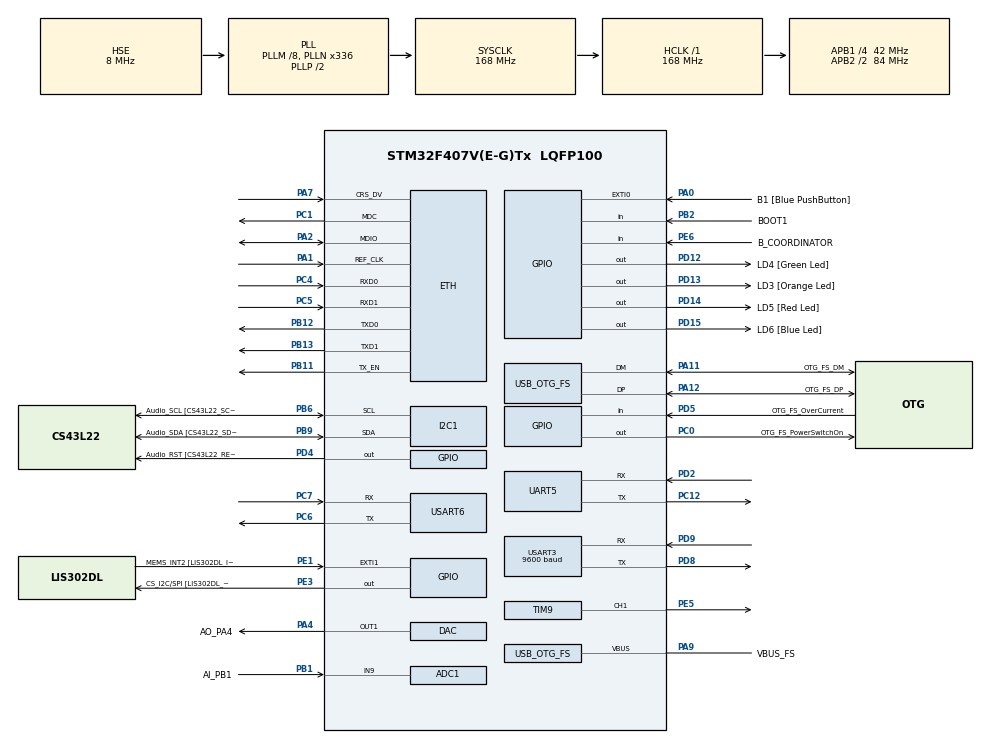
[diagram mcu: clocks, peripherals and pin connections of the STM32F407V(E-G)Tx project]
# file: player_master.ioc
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ADC1.Channel-0\#ChannelRegularConversion=ADC_CHANNEL_9
ADC1.NbrOfConversionFlag=1
ADC1.Rank-0\#ChannelRegularConversion=1
ADC1.SamplingTime-0\#ChannelRegularConversion=ADC_SAMPLETIME_3CYCLES
ADC1.master=1
ETH.MACAddr=00\:80\:E1\:00\:00\:FF
ETH.MediaInterface=ETH_MEDIA_INTERFACE_RMII
ETH.PhyAddress=0
LWIP.GATEWAY_ADDRESS=192.168.001.254
LWIP.IP_ADDRESS=192.168.001.250
LWIP.LWIP_DHCP=0
LWIP.LWIP_HTTPD=1
LWIP.LWIP_HTTPD_CUSTOM_FILES=1
LWIP.LWIP_HTTPD_DYNAMIC_HEADERS=1
LWIP.LWIP_HTTPD_SUPPORT_POST=1
LWIP.NETMASK_ADDRESS=255.255.255.000
LWIP.Version=v2.0.3_Cube
Mcu.Family=STM32F4
Mcu.Name=STM32F407V(E-G)Tx
Mcu.Package=LQFP100
NVIC.OTG_FS_IRQn=true\:0\:0\:false\:false\:true\:true\:true
NVIC.PriorityGroup=NVIC_PRIORITYGROUP_0
NVIC.TIM2_IRQn=true\:0\:0\:false\:false\:true\:true\:true
NVIC.UART5_IRQn=true\:0\:0\:false\:false\:true\:true\:true
NVIC.USART3_IRQn=true\:0\:0\:false\:false\:true\:true\:true
NVIC.USART6_IRQn=true\:0\:0\:false\:false\:true\:true\:true
PA0-WKUP.GPIO_Label=B1 [Blue PushButton]
PA0-WKUP.GPIO_ModeDefaultEXTI=GPIO_MODE_EVT_RISING
PA0-WKUP.GPIO_PuPd=GPIO_NOPULL
PA0-WKUP.Signal=GPXTI0
PA1.Mode=RMII
PA1.Signal=ETH_REF_CLK
PA10.GPIO_Label=OTG_FS_ID
PA10.GPIO_Mode=GPIO_MODE_AF_PP
PA10.GPIO_PuPd=GPIO_NOPULL
PA10.GPIO_Speed=GPIO_SPEED_FREQ_LOW
PA10.Signal=USB_OTG_FS_ID
PA11.GPIO_Label=OTG_FS_DM
PA11.GPIO_Mode=GPIO_MODE_AF_PP
PA11.GPIO_PuPd=GPIO_NOPULL
PA11.GPIO_Speed=GPIO_SPEED_FREQ_LOW
PA11.Mode=Host_Only
PA11.Signal=USB_OTG_FS_DM
PA12.GPIO_Label=OTG_FS_DP
PA12.GPIO_Mode=GPIO_MODE_AF_PP
PA12.GPIO_PuPd=GPIO_NOPULL
PA12.GPIO_Speed=GPIO_SPEED_FREQ_LOW
PA12.Mode=Host_Only
PA12.Signal=USB_OTG_FS_DP
PA13.GPIO_Label=SWDIO
PA13.Mode=Serial_Wire
PA13.Signal=SYS_JTMS-SWDIO
PA14.GPIO_Label=SWCLK
PA14.Mode=Serial_Wire
PA14.Signal=SYS_JTCK-SWCLK
PA2.Mode=RMII
PA2.Signal=ETH_MDIO
PA4.GPIO_Label=AO_PA4
PA4.Signal=COMP_DAC1_group
PA5.GPIO_Label=SPI1_SCK [LIS302DL_SCL/SPC]
PA5.GPIO_Mode=GPIO_MODE_AF_PP
PA5.GPIO_PuPd=GPIO_NOPULL
PA5.GPIO_Speed=GPIO_SPEED_FREQ_LOW
PA5.Signal=SPI1_SCK
PA6.GPIO_Label=SPI1_MISO [LIS302DL_SDO]
PA6.GPIO_Mode=GPIO_MODE_AF_PP
PA6.GPIO_PuPd=GPIO_NOPULL
PA6.GPIO_Speed=GPIO_SPEED_FREQ_LOW
PA6.Signal=SPI1_MISO
PA7.Mode=RMII
PA7.Signal=ETH_CRS_DV
PA9.GPIO_Label=VBUS_FS
PA9.GPIO_Mode=GPIO_MODE_INPUT
PA9.GPIO_PuPd=GPIO_NOPULL
PA9.Mode=Activate_VBUS
PA9.Signal=USB_OTG_FS_VBUS
PB1.GPIO_Label=AI_PB1
PB1.Signal=ADCx_IN9
PB10.GPIO_Label=CLK_IN [MP45DT02_CLK]
PB10.GPIO_Mode=GPIO_MODE_AF_PP
PB10.GPIO_PuPd=GPIO_NOPULL
PB10.GPIO_Speed=GPIO_SPEED_FREQ_LOW
PB10.Signal=I2S2_CK
PB11.Mode=RMII
PB11.Signal=ETH_TX_EN
PB12.Mode=RMII
PB12.Signal=ETH_TXD0
PB13.Mode=RMII
PB13.Signal=ETH_TXD1
PB2.GPIO_Label=BOOT1
PB2.GPIO_Mode=GPIO_MODE_INPUT
PB2.GPIO_PuPd=GPIO_NOPULL
PB2.Signal=GPIO_Input
PB3.GPIO_Label=SWO
PB3.Signal=SYS_JTDO-SWO
PB6.GPIO_Label=Audio_SCL [CS43L22_SCL]
PB6.GPIO_Mode=GPIO_MODE_AF_OD
PB6.GPIO_PuPd=GPIO_NOPULL
PB6.GPIO_Speed=GPIO_SPEED_FREQ_LOW
PB6.Mode=I2C
PB6.Signal=I2C1_SCL
PB9.GPIO_Label=Audio_SDA [CS43L22_SDA]
PB9.GPIO_Mode=GPIO_MODE_AF_OD
PB9.GPIO_PuPd=GPIO_NOPULL
PB9.GPIO_Speed=GPIO_SPEED_FREQ_LOW
PB9.Mode=I2C
PB9.Signal=I2C1_SDA
PC0.GPIO_Label=OTG_FS_PowerSwitchOn
PC0.GPIO_PuPd=GPIO_NOPULL
PC0.GPIO_Speed=GPIO_SPEED_FREQ_LOW
PC0.PinState=GPIO_PIN_SET
PC0.Signal=GPIO_Output
PC1.Mode=RMII
PC1.Signal=ETH_MDC
PC10.GPIO_Label=I2S3_SCK [CS43L22_SCLK]
PC10.GPIO_Mode=GPIO_MODE_AF_PP
PC10.GPIO_PuPd=GPIO_NOPULL
PC10.GPIO_Speed=GPIO_SPEED_FREQ_LOW
PC10.Signal=I2S3_CK
PC12.Mode=Asynchronous
PC12.Signal=UART5_TX
PC14-OSC32_IN.GPIO_Label=PC14-OSC32_IN
PC14-OSC32_IN.Mode=LSE-External-Oscillator
PC14-OSC32_IN.Signal=RCC_OSC32_IN
PC15-OSC32_OUT.GPIO_Label=PC15-OSC32_OUT
PC15-OSC32_OUT.Mode=LSE-External-Oscillator
PC15-OSC32_OUT.Signal=RCC_OSC32_OUT
PC3.GPIO_Label=PDM_OUT [MP45DT02_DOUT]
PC3.GPIO_Mode=GPIO_MODE_AF_PP
PC3.GPIO_PuPd=GPIO_NOPULL
PC3.GPIO_Speed=GPIO_SPEED_FREQ_LOW
PC3.Signal=I2S2_SD
PC4.Mode=RMII
PC4.Signal=ETH_RXD0
PC5.Mode=RMII
PC5.Signal=ETH_RXD1
PC6.Mode=Asynchronous
PC6.Signal=USART6_TX
PC7.Mode=Asynchronous
PC7.Signal=USART6_RX
PD12.GPIO_Label=LD4 [Green Led]
PD12.GPIO_PuPd=GPIO_NOPULL
PD12.GPIO_Speed=GPIO_SPEED_FREQ_LOW
PD12.Signal=GPIO_Output
PD13.GPIO_Label=LD3 [Orange Led]
PD13.GPIO_PuPd=GPIO_NOPULL
PD13.GPIO_Speed=GPIO_SPEED_FREQ_LOW
PD13.Signal=GPIO_Output
PD14.GPIO_Label=LD5 [Red Led]
PD14.GPIO_PuPd=GPIO_NOPULL
PD14.GPIO_Speed=GPIO_SPEED_FREQ_LOW
PD14.Signal=GPIO_Output
PD15.GPIO_Label=LD6 [Blue Led]
PD15.GPIO_PuPd=GPIO_NOPULL
PD15.GPIO_Speed=GPIO_SPEED_FREQ_LOW
PD15.Signal=GPIO_Output
PD2.Mode=Asynchronous
PD2.Signal=UART5_RX
PD4.GPIO_Label=Audio_RST [CS43L22_RESET]
PD4.GPIO_PuPd=GPIO_NOPULL
PD4.GPIO_Speed=GPIO_SPEED_FREQ_LOW
PD4.Signal=GPIO_Output
PD5.GPIO_Label=OTG_FS_OverCurrent
PD5.GPIO_Mode=GPIO_MODE_INPUT
PD5.GPIO_PuPd=GPIO_NOPULL
PD5.Signal=GPIO_Input
PD8.Mode=Asynchronous
PD8.Signal=USART3_TX
PD9.Mode=Asynchronous
PD9.Signal=USART3_RX
PE1.GPIO_Label=MEMS_INT2 [LIS302DL_INT2]
PE1.GPIO_ModeDefaultEXTI=GPIO_MODE_EVT_RISING
PE1.GPIO_PuPd=GPIO_NOPULL
PE1.Signal=GPXTI1
PE3.GPIO_Label=CS_I2C/SPI [LIS302DL_CS_I2C/SPI]
PE3.GPIO_PuPd=GPIO_NOPULL
PE3.GPIO_Speed=GPIO_SPEED_FREQ_LOW
PE3.Signal=GPIO_Output
PE5.Signal=S_TIM9_CH1
PE6.GPIO_Label=B_COORDINATOR
PE6.Signal=GPIO_Input
PH0-OSC_IN.GPIO_Label=PH0-OSC_IN
PH0-OSC_IN.Mode=HSE-External-Oscillator
PH0-OSC_IN.Signal=RCC_OSC_IN
PH1-OSC_OUT.GPIO_Label=PH1-OSC_OUT
PH1-OSC_OUT.Mode=HSE-External-Oscillator
PH1-OSC_OUT.Signal=RCC_OSC_OUT
ProjectManager.HeapSize=0x200
ProjectManager.StackSize=0x400
ProjectManager.TargetToolchain=TrueSTUDIO
RCC.48MHZClocksFreq_Value=48000000
RCC.AHBFreq_Value=168000000
RCC.APB1CLKDivider=RCC_HCLK_DIV4
RCC.APB1Freq_Value=42000000
RCC.APB1TimFreq_Value=84000000
RCC.APB2CLKDivider=RCC_HCLK_DIV2
RCC.APB2Freq_Value=84000000
RCC.APB2TimFreq_Value=168000000
RCC.CortexFreq_Value=168000000
RCC.HCLKFreq_Value=168000000
RCC.HSE_VALUE=8000000
RCC.HSI_VALUE=16000000
RCC.PLLM=8
RCC.PLLN=336
RCC.PLLQ=7
RCC.SYSCLKFreq_VALUE=168000000
RCC.SYSCLKSource=RCC_SYSCLKSOURCE_PLLCLK
RCC.VCOOutputFreq_Value=336000000
SH.ADCx_IN9.0=ADC1_IN9,IN9
SH.COMP_DAC1_group.0=DAC_OUT1,DAC_OUT1
SH.S_TIM9_CH1.0=TIM9_CH1,PWM Generation1 CH1
TIM2.Period=4999
TIM2.Prescaler=8399
TIM9.Channel-PWM\ Generation1\ CH1=TIM_CHANNEL_1
TIM9.Period=2150
TIM9.Prescaler=1679
TIM9.Pulse-PWM\ Generation1\ CH1=150
UART5.VirtualMode=Asynchronous
USART3.BaudRate=9600
USART3.VirtualMode=VM_ASYNC
USART6.VirtualMode=VM_ASYNC
USB_HOST.BSP.number=1
USB_HOST.USBH_HandleTypeDef-CDC_FS=hUsbHostFS
USB_HOST.VirtualModeFS=Cdc
USB_HOST0.BSP.STBoard=false
USB_HOST0.BSP.api=Unknown
USB_HOST0.BSP.i2caddr=0
USB_HOST0.BSP.i2creg=0
USB_HOST0.BSP.instance=PC0
USB_HOST0.BSP.ip=GPIO
USB_HOST0.BSP.mode=Output
USB_HOST0.BSP.name=Drive_VBUS_FS
USB_HOST0.BSP.solution=PC0
USB_OTG_FS.VirtualMode=Host_Only
USB_OTG_FS.phy_itface=HCD_PHY_EMBEDDED
VP_LWIP_VS_Enabled.Mode=Enabled
VP_RNG_VS_RNG.Mode=RNG_Activate
VP_TIM2_VS_ClockSourceINT.Mode=Internal
VP_TIM9_VS_ClockSourceINT.Mode=Internal
VP_USB_HOST_VS_USB_HOST_CDC_FS.Mode=CDC_FS
board=STM32F407G-DISC1

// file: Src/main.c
/* USER CODE BEGIN Header */
/**
  ******************************************************************************
  * @file           : main.c
  * @brief          : Main program body
  ******************************************************************************
  * @attention
  *
  * <h2><center>&copy; Copyright (c) 2019 STMicroelectronics.
  * All rights reserved.</center></h2>
  *
  * This software component is licensed by ST under Ultimate Liberty license
  * SLA0044, the "License"; You may not use this file except in compliance with
  * the License. You may obtain a copy of the License at:
  *                             www.st.com/SLA0044
  *
  ******************************************************************************
  */
/* USER CODE END Header */

#include "main.h"
#include "lwip.h"
#include "usb_host.h"

/* USER CODE BEGIN Includes */
#include <stdio.h>
#include <string.h>
#include "httpd.h"

#include <bum_player.h>
#include <bum_referee.h>

/* USER CODE END Includes */

/* USER CODE BEGIN PD */

#define PLAYER_NAME "Bob"

/* USER CODE END PD */

ADC_HandleTypeDef hadc1;

DAC_HandleTypeDef hdac;

I2C_HandleTypeDef hi2c1;

RNG_HandleTypeDef hrng;

TIM_HandleTypeDef htim2;
TIM_HandleTypeDef htim9;

UART_HandleTypeDef huart5;
UART_HandleTypeDef huart3;
UART_HandleTypeDef huart6;

/* USER CODE BEGIN PV */

event e;

#define TIM2_MS      10
#define BUMPER_DT_MS 100

/* USER CODE END PV */

void SystemClock_Config(void);
static void MX_GPIO_Init(void);
static void MX_I2C1_Init(void);
static void MX_TIM2_Init(void);
static void MX_USART6_UART_Init(void);
static void MX_ADC1_Init(void);
static void MX_DAC_Init(void);
static void MX_TIM9_Init(void);
static void MX_RNG_Init(void);
static void MX_UART5_Init(void);
static void MX_USART3_UART_Init(void);
void MX_USB_HOST_Process(void);

/* USER CODE BEGIN 0 */

uint8_t recv3_car = 0;
uint8_t recv6_car = 0;

char print_flag = 0;
extern int8_t acceleration_x;
int8_t acceleration_x = 0;
extern int8_t acceleration_y;
int8_t acceleration_y = 0;
char received_cars[2];
char buffer[100];

void HAL_UART_RxCpltCallback(UART_HandleTypeDef *huart)
{
  if ( huart->Instance == USART6 )
  {
	  switch ( recv6_car )
	  {
		case 'q' :
			__HAL_TIM_SET_AUTORELOAD( &htim2, 499 );
		  break;

		case 's' :
			__HAL_TIM_SET_AUTORELOAD( &htim2, 4999 );
		  break;

		default:
			break;
	  }

	  // Restart counter
	  __HAL_TIM_SET_COUNTER( &htim2, 0 );

	  // Restart receiving data on USART6
	  HAL_UART_Receive_IT( &huart6, &recv6_car, 1 );
  }
#if 0
  else if ( huart->Instance == USART3 )
  {
    bum_notify_recv( recv3_car );

    HAL_UART_Receive_IT( &huart3, &recv3_car, 1 );
  }
#endif
  if(huart->Instance == UART5){
  print_flag = 1;

    //on vérifie qu'on a bien reçu des message avec une  qui clignote
  	if(HAL_UART_Receive_IT( &huart5, &received_cars, 2 ) == HAL_OK){
  		HAL_GPIO_TogglePin( GPIOD, LD4_Pin);
  	}

  	//on relance l'écoute de l'UART
  	HAL_UART_Receive_IT( &huart5, &buffer, 1 );
  }

}

int _write(int file, char *ptr, int len)
{
  HAL_UART_Transmit( &huart6, ( uint8_t * )ptr, len, 1000 );
  return len;
}

void pwm_angle_to_registers( int angle )
{
  if ( angle < -90 ) angle = -90;
  else if ( angle > 90 ) angle = 90;

  // 100 counts / ms
  // -90 --> 0.75 ms
  //  90 --> 2.25 ms
  // 100 * (0.75 + 1,5/180 * (angle + 90))

  int pulse =  75 + ( 150 * ( angle + 90 ) ) / 180;
  int period = pulse + 2000;

  // Besoin de stopper le timer ? De reset ? d'attendre la fin d'un cycle ?
  // Non : shadow registers
  __HAL_TIM_SET_AUTORELOAD( &htim9, (period-1) );
  __HAL_TIM_SET_COMPARE( &htim9, TIM_CHANNEL_1, (pulse-1) );
}

void bumper_signal_error( int x )
{
	HAL_GPIO_WritePin( LD3_GPIO_Port, LD5_Pin, 1 ); // RED

	char buff[ 20 ];
	sprintf( buff, "ERROR %d<br/>", x );

	bum_log( buff );
}

void bumper_signal_debug( int x )
{
	HAL_GPIO_TogglePin( LD6_GPIO_Port, LD6_Pin ); // BLUE
}

// **********************************************************************************************
// **********************************************************************************************
// **********************************************************************************************
// **********************************************************************************************
// ----------------------------------------------------------------------------------------------
// PLAYER
BumperProtocolPlayer bum_player;

#define JSON_ORDERS_SIZE 500
char json_orders[ JSON_ORDERS_SIZE + 1 ];

int bumper_game_step( uint8_t step, uint8_t param )
{
	int len = strlen( json_orders );
	if ( len > JSON_ORDERS_SIZE - 50 ) return 0;

	char msg[ 40 ];
	msg[ 0 ] = 0;
	switch ( step )
	{
	case BUM_STEP_REGISTERED:
		switch ( param )
		{
		case 0: // internal error
			strcpy( msg, "Internal Error" ); break;
		case 1: // OK
			strcpy( msg, "OK registered as " ); strcat( msg, bum_player.name ); break;
		case 2: // OK but already registered
			strcpy( msg, "OK already as " ); strcat( msg, bum_player.name ); break;
		case 3: // NO, too many players
			strcpy( msg, "Too many players" ); break;
		case 4: // NO, game already started
			strcpy( msg, "Too late" ); break;
		default:
			strcpy( msg, "param ???" ); break;
		}
        break;

	case BUM_STEP_START:
		strcpy( msg, "Playing as " ); strcat( msg, bum_player.name ); break;
		break;

	case BUM_STEP_RESULT:
		break;

	case BUM_STEP_END:
		sprintf( msg, "Game Over" ); break;

	default:
		strcpy( msg, "step ???" ); break;
	}

	if ( msg[ 0 ] )
	{
		sprintf( json_orders + len, "{\"display\":[{\"id\":\"step\",\"x\":200,\"y\":-5,\"content\":\"%s\"}]},", msg );
	}

	return 1;
}

int bumper_game_new_player( uint8_t id, const char *name, uint32_t color )
{
	int len = strlen( json_orders );
	if ( len > JSON_ORDERS_SIZE - 50 ) return 0;
	sprintf( json_orders + len, "{\"new_player\":[{\"i\":%d,\"name\":\"%s\",\"color\": \"#%06X\"}]},", ( unsigned int )id, name, ( unsigned int )color );
	return 1;
}

int bumper_game_player_move( uint8_t id, uint16_t x, uint16_t y, uint16_t s )
{
	int len = strlen( json_orders );
	if ( len > JSON_ORDERS_SIZE - 50 ) return 0;
	sprintf( json_orders + len, "{\"move\":[{\"i\":%d,\"x\":%d,\"y\":%d,\"a\":%d,\"s\":%d}]},", ( unsigned int )id, ( unsigned int )x, ( unsigned int )y, 0, ( unsigned int )s );
	return 1;
}

int bumper_game_print( const char *msg )
{
	int len = strlen( json_orders );
	if ( len > JSON_ORDERS_SIZE - 50 ) return 0;
	sprintf( json_orders + len, "{\"display\":[{\"id\":\"score\",\"x\":10,\"y\":-5,\"content\":\"%s\"}]},", msg );
	return 1;
}

void bumper_init_player()
{
  bum_player.game_step = bumper_game_step;
  bum_player.game_new_player = bumper_game_new_player;
  bum_player.game_player_move = bumper_game_player_move;
  bum_player.game_print = bumper_game_print;

  bum_player.error = bumper_signal_error;
  bum_player.debug = bumper_signal_debug;

  bum_init_player( &bum_player );
}

// ----------------------------------------------------------------------------------------------
// REFEREE
BumperProtocolReferee bum_referee;

uint8_t user_button_pushed = 0;

#if 1
int bumper_game_register( uint8_t id, const char *name )
{
	return 1;
}

int bumper_game_acceleration( uint8_t id, int8_t ax, int8_t ay, int8_t az )
{
	return 1;
}

int bumper_game_over()
{
	user_button_pushed = 0;
	return 1;
}
#endif

int bumper_utility_random( uint32_t *value, uint32_t max )
{
  if ( HAL_RNG_GenerateRandomNumber( &hrng, value ) != HAL_OK ) return 0;

#if 0
  uint32_t zones = 0xFFFFFFFF / max;
  *value /= zones;
#else
  *value %= max;
#endif

  return 1;
}

void bumper_init_referee()
{
#if 1
  bum_referee.game_register = bumper_game_register;
  bum_referee.game_acceleration = bumper_game_acceleration;
  bum_referee.game_over = bumper_game_over;

  bum_referee.utility_random = bumper_utility_random;
#endif
  bum_referee.error = bumper_signal_error;
  bum_referee.debug = 0;

  bum_init_referee( &bum_referee );
}

// **********************************************************************************************
// **********************************************************************************************
// **********************************************************************************************
// **********************************************************************************************

int check_board_id()
{
	  uint32_t UID[ 3 ];
	  UID[0] = HAL_GetUIDw0();
	  UID[1] = HAL_GetUIDw1();
	  UID[2] = HAL_GetUIDw2();

	  uint32_t UID_COORDINATOR[ 3 ];
	  UID_COORDINATOR[0] = 0x002d0025;
	  UID_COORDINATOR[1] = 0x3137470f;
	  UID_COORDINATOR[2] = 0x30373234;

	  uint32_t UID_PLAYER_1[ 3 ];
	  UID_PLAYER_1[0] = 0x470058;
	  UID_PLAYER_1[1] = 0x58485018;
	  UID_PLAYER_1[2] = 0x20383852;

	  if ( ( UID[0] == UID_COORDINATOR[0] ) && ( UID[1] == UID_COORDINATOR[1] ) && ( UID[2] == UID_COORDINATOR[2] ) ) return 0;

	  if ( ( UID[0] == UID_PLAYER_1[0] ) && ( UID[1] == UID_PLAYER_1[1] ) && ( UID[2] == UID_PLAYER_1[2] ) ) return 1;

	  return 2;
}

WebInterface wi;

char buffer[100];

/* USER CODE END 0 */

int main(void)
{

  /* MCU Configuration--------------------------------------------------------*/

  /* Reset of all peripherals, Initializes the Flash interface and the Systick. */
  HAL_Init();

  /* Configure the system clock */
  SystemClock_Config();

  /* USER CODE BEGIN SysInit */

  // UART3 : XBee
  // UART5 : MEMS board
  // UART6 : debug / 232

  /* USER CODE END SysInit */

  /* Initialize all configured peripherals */
  MX_GPIO_Init();
  MX_I2C1_Init();
  MX_TIM2_Init();
  MX_USB_HOST_Init();
  MX_USART6_UART_Init();
  MX_ADC1_Init();
  MX_DAC_Init();
  MX_TIM9_Init();
  MX_RNG_Init();
  MX_UART5_Init();
  MX_USART3_UART_Init();
  MX_LWIP_Init();
  /* USER CODE BEGIN 2 */
  HAL_UART_Receive_IT( &huart5, &buffer, 1 );

  //si on a reçu une accélération
  if(print_flag == 1){
	print_flag = 0;

	if(received_cars[0] == "X"){
		acceleration_x = (int8_t)received_cars[1];
	}
	if(received_cars[0] == "Y"){
		acceleration_y = (int8_t)received_cars[1];
	}
  }

HAL_GPIO_TogglePin( GPIOD, LD6_Pin);

  uint8_t ip_address = 250;
  int board_id = check_board_id();
  int referee = 0;

  switch ( board_id )
  {
    case 0: // Referee
    	referee = 1;
    	ip_address = 250;
    	break;
    case 1: // Player de test
    	ip_address = 251;
    	strcpy( bum_player.name, "Axel" );
    	break;
    case 2: // Player
    	ip_address = 252;
    	strcpy( bum_player.name, PLAYER_NAME );
    	break;
  }

  ip_address = 1;

  web_interface_init( &wi );

  MX_LWIP_Init_( ip_address );

  HAL_TIM_Base_Start_IT( &htim2 );

  event_init( &e );

  HAL_UART_Receive_IT( &huart6, &recv6_car, 1 );

  //HAL_UART_Receive_IT( &huart3, &recv3_car, 1 );

  /* USER CODE END 2 */

  /* Infinite loop */
  /* USER CODE BEGIN WHILE */

  HAL_DAC_Start(&hdac, DAC_CHANNEL_1);

  // Start AD conversion
  HAL_ADC_Start( &hadc1 );

  // Start timer 9
  HAL_TIM_Base_Start( &htim9 );
  // Start PWM on channel 1, timer 9
  HAL_TIM_PWM_Start( &htim9, TIM_CHANNEL_1 );

#if 0
  uint32_t v = 0;
  int dir = 1;
  int angle = -90;
#endif

  httpd_init();

  if ( referee )
  {
    bumper_init_referee();
  }
  else
  {
	bumper_init_player();
  }

  strcpy( json_orders, "{\"L\":[" );

  //v = xbee_configure_API1();

  while (1)
  {
    /* USER CODE END WHILE */
    MX_USB_HOST_Process();

    if(print_flag == 1){
  	print_flag = 0;

    }

    /* USER CODE BEGIN 3 */

    // Make ETH work
    MX_LWIP_Process();

    // LD3 (orange), LD4 (green), LD5 (red) and LD6 (blue)

#if 0
    // Wait for end of conversion
    if ( HAL_ADC_PollForConversion( &hadc1, 1000 ) == HAL_OK )
    {
      // Get value from 0 to 0xFFF
	  v = HAL_ADC_GetValue( &hadc1 );

	  // Output half of the input voltage on DAC channel 1
	  HAL_DAC_SetValue(&hdac, DAC_CHANNEL_1, DAC_ALIGN_12B_R, v / 2 );

	  // Convert to mV
	  v *= 3300;
	  v /= 0xFFF;

	  // Restart AD conversion for next time
	  HAL_ADC_Start( &hadc1 );
    }
#endif

#if 0
    if ( ( B1_GPIO_Port->IDR & B1_Pin ) == 1 )
    {
      if ( !pushed )
      {
   	    if ( coordinator )
  	      xbee_api_send( ( uint8_t * )"ACOORD", 6 );
   	    else
   	      xbee_api_send( ( uint8_t * )"ABASE", 5 );
      }

      pushed = 1;
    }
    else
   	{ pushed = 0; }
#endif

    if ( referee )
    {
      bum_process_referee();
    }
    else
    {
      bum_process_player();

  	  // Execute buttons pushed in web interface
		if ( event_check( &wi.evt ) )
		{
			if ( wi.button_register_player )
			{
				wi.button_register_player = 0;
				bum_game_register( bum_player.name );
			}

			if ( wi.button_acc )
			{
				wi.button_acc = 0;
				bum_game_acceleration( wi.acc_x, wi.acc_y, 0 );
			}
		}

    }

    if ( referee )
    {
  	  if ( !user_button_pushed && ( ( B1_GPIO_Port->IDR & B1_Pin ) == 1 ) )
  	  {
  		user_button_pushed = 1;

  		// Start game
  		bum_referee_start_game();
  	  }
    }

    if ( event_check( &e ) ) // If the event has been triggered
    {
		bum_process( TIM2_MS );

		static int N_BUMPER_DT_MS = 0;
		N_BUMPER_DT_MS += TIM2_MS;
        if ( N_BUMPER_DT_MS >= BUMPER_DT_MS )
        {
          N_BUMPER_DT_MS = 0;

		  if ( referee )
		  {
			bum_referee_calculate( BUMPER_DT_MS );

			if ( bum_referee_get_n_players() )
			{
				HAL_GPIO_WritePin( LD3_GPIO_Port, LD6_Pin, GPIO_PIN_SET ); // BLUE
			}
			else
			{
				HAL_GPIO_WritePin( LD3_GPIO_Port, LD6_Pin, GPIO_PIN_RESET ); // BLUE
			}
		  }

		  // We remove this line because it is blocking
		  // printf( "%u mV\r\n", ( unsigned int )v );

#if 0
		  // Move the motor
		  angle += 10 * dir;
		  if ( angle > 90 ) dir = -1;
		  if ( angle < -90 ) dir = 1;

		  pwm_angle_to_registers( angle );
#endif
        }

	  static int N500 = 0;
	  N500 += TIM2_MS;
	  if ( N500 >= 500 )
	  {
		N500 = 0;
		HAL_GPIO_TogglePin( LD3_GPIO_Port, LD3_Pin ); // ORANGE
	  }

    }
  }
  /* USER CODE END 3 */
}

void SystemClock_Config(void)
{
  RCC_OscInitTypeDef RCC_OscInitStruct = {0};
  RCC_ClkInitTypeDef RCC_ClkInitStruct = {0};

  /** Configure the main internal regulator output voltage
  */
  __HAL_RCC_PWR_CLK_ENABLE();
  __HAL_PWR_VOLTAGESCALING_CONFIG(PWR_REGULATOR_VOLTAGE_SCALE1);
  /** Initializes the CPU, AHB and APB busses clocks
  */
  RCC_OscInitStruct.OscillatorType = RCC_OSCILLATORTYPE_HSE;
  RCC_OscInitStruct.HSEState = RCC_HSE_ON;
  RCC_OscInitStruct.PLL.PLLState = RCC_PLL_ON;
  RCC_OscInitStruct.PLL.PLLSource = RCC_PLLSOURCE_HSE;
  RCC_OscInitStruct.PLL.PLLM = 8;
  RCC_OscInitStruct.PLL.PLLN = 336;
  RCC_OscInitStruct.PLL.PLLP = RCC_PLLP_DIV2;
  RCC_OscInitStruct.PLL.PLLQ = 7;
  if (HAL_RCC_OscConfig(&RCC_OscInitStruct) != HAL_OK)
  {
    Error_Handler();
  }
  /** Initializes the CPU, AHB and APB busses clocks
  */
  RCC_ClkInitStruct.ClockType = RCC_CLOCKTYPE_HCLK|RCC_CLOCKTYPE_SYSCLK
                              |RCC_CLOCKTYPE_PCLK1|RCC_CLOCKTYPE_PCLK2;
  RCC_ClkInitStruct.SYSCLKSource = RCC_SYSCLKSOURCE_PLLCLK;
  RCC_ClkInitStruct.AHBCLKDivider = RCC_SYSCLK_DIV1;
  RCC_ClkInitStruct.APB1CLKDivider = RCC_HCLK_DIV4;
  RCC_ClkInitStruct.APB2CLKDivider = RCC_HCLK_DIV2;

  if (HAL_RCC_ClockConfig(&RCC_ClkInitStruct, FLASH_LATENCY_5) != HAL_OK)
  {
    Error_Handler();
  }
}

static void MX_ADC1_Init(void)
{

  ADC_ChannelConfTypeDef sConfig = {0};

  /** Configure the global features of the ADC (Clock, Resolution, Data Alignment and number of conversion)
  */
  hadc1.Instance = ADC1;
  hadc1.Init.ClockPrescaler = ADC_CLOCK_SYNC_PCLK_DIV4;
  hadc1.Init.Resolution = ADC_RESOLUTION_12B;
  hadc1.Init.ScanConvMode = DISABLE;
  hadc1.Init.ContinuousConvMode = DISABLE;
  hadc1.Init.DiscontinuousConvMode = DISABLE;
  hadc1.Init.ExternalTrigConvEdge = ADC_EXTERNALTRIGCONVEDGE_NONE;
  hadc1.Init.ExternalTrigConv = ADC_SOFTWARE_START;
  hadc1.Init.DataAlign = ADC_DATAALIGN_RIGHT;
  hadc1.Init.NbrOfConversion = 1;
  hadc1.Init.DMAContinuousRequests = DISABLE;
  hadc1.Init.EOCSelection = ADC_EOC_SINGLE_CONV;
  if (HAL_ADC_Init(&hadc1) != HAL_OK)
  {
    Error_Handler();
  }
  /** Configure for the selected ADC regular channel its corresponding rank in the sequencer and its sample time.
  */
  sConfig.Channel = ADC_CHANNEL_9;
  sConfig.Rank = 1;
  sConfig.SamplingTime = ADC_SAMPLETIME_3CYCLES;
  if (HAL_ADC_ConfigChannel(&hadc1, &sConfig) != HAL_OK)
  {
    Error_Handler();
  }

}

static void MX_DAC_Init(void)
{

  DAC_ChannelConfTypeDef sConfig = {0};

  /** DAC Initialization
  */
  hdac.Instance = DAC;
  if (HAL_DAC_Init(&hdac) != HAL_OK)
  {
    Error_Handler();
  }
  /** DAC channel OUT1 config
  */
  sConfig.DAC_Trigger = DAC_TRIGGER_NONE;
  sConfig.DAC_OutputBuffer = DAC_OUTPUTBUFFER_ENABLE;
  if (HAL_DAC_ConfigChannel(&hdac, &sConfig, DAC_CHANNEL_1) != HAL_OK)
  {
    Error_Handler();
  }

}

static void MX_I2C1_Init(void)
{

  hi2c1.Instance = I2C1;
  hi2c1.Init.ClockSpeed = 100000;
  hi2c1.Init.DutyCycle = I2C_DUTYCYCLE_2;
  hi2c1.Init.OwnAddress1 = 0;
  hi2c1.Init.AddressingMode = I2C_ADDRESSINGMODE_7BIT;
  hi2c1.Init.DualAddressMode = I2C_DUALADDRESS_DISABLE;
  hi2c1.Init.OwnAddress2 = 0;
  hi2c1.Init.GeneralCallMode = I2C_GENERALCALL_DISABLE;
  hi2c1.Init.NoStretchMode = I2C_NOSTRETCH_DISABLE;
  if (HAL_I2C_Init(&hi2c1) != HAL_OK)
  {
    Error_Handler();
  }

}

static void MX_RNG_Init(void)
{

  hrng.Instance = RNG;
  if (HAL_RNG_Init(&hrng) != HAL_OK)
  {
    Error_Handler();
  }

}

static void MX_TIM2_Init(void)
{

  TIM_ClockConfigTypeDef sClockSourceConfig = {0};
  TIM_MasterConfigTypeDef sMasterConfig = {0};

  htim2.Instance = TIM2;
  htim2.Init.Prescaler = 8399;
  htim2.Init.CounterMode = TIM_COUNTERMODE_UP;
  htim2.Init.Period = 4999;
  htim2.Init.ClockDivision = TIM_CLOCKDIVISION_DIV1;
  htim2.Init.AutoReloadPreload = TIM_AUTORELOAD_PRELOAD_DISABLE;
  if (HAL_TIM_Base_Init(&htim2) != HAL_OK)
  {
    Error_Handler();
  }
  sClockSourceConfig.ClockSource = TIM_CLOCKSOURCE_INTERNAL;
  if (HAL_TIM_ConfigClockSource(&htim2, &sClockSourceConfig) != HAL_OK)
  {
    Error_Handler();
  }
  sMasterConfig.MasterOutputTrigger = TIM_TRGO_RESET;
  sMasterConfig.MasterSlaveMode = TIM_MASTERSLAVEMODE_DISABLE;
  if (HAL_TIMEx_MasterConfigSynchronization(&htim2, &sMasterConfig) != HAL_OK)
  {
    Error_Handler();
  }
  /* USER CODE BEGIN TIM2_Init 2 */

  __HAL_TIM_SET_AUTORELOAD( &htim2, ( TIM2_MS * 10 ) - 1 );

  /* USER CODE END TIM2_Init 2 */

}

static void MX_TIM9_Init(void)
{

  TIM_ClockConfigTypeDef sClockSourceConfig = {0};
  TIM_OC_InitTypeDef sConfigOC = {0};

  htim9.Instance = TIM9;
  htim9.Init.Prescaler = 1679;
  htim9.Init.CounterMode = TIM_COUNTERMODE_UP;
  htim9.Init.Period = 2150;
  htim9.Init.ClockDivision = TIM_CLOCKDIVISION_DIV1;
  htim9.Init.AutoReloadPreload = TIM_AUTORELOAD_PRELOAD_DISABLE;
  if (HAL_TIM_Base_Init(&htim9) != HAL_OK)
  {
    Error_Handler();
  }
  sClockSourceConfig.ClockSource = TIM_CLOCKSOURCE_INTERNAL;
  if (HAL_TIM_ConfigClockSource(&htim9, &sClockSourceConfig) != HAL_OK)
  {
    Error_Handler();
  }
  if (HAL_TIM_PWM_Init(&htim9) != HAL_OK)
  {
    Error_Handler();
  }
  sConfigOC.OCMode = TIM_OCMODE_PWM1;
  sConfigOC.Pulse = 150;
  sConfigOC.OCPolarity = TIM_OCPOLARITY_HIGH;
  sConfigOC.OCFastMode = TIM_OCFAST_DISABLE;
  if (HAL_TIM_PWM_ConfigChannel(&htim9, &sConfigOC, TIM_CHANNEL_1) != HAL_OK)
  {
    Error_Handler();
  }
  HAL_TIM_MspPostInit(&htim9);

}

static void MX_UART5_Init(void)
{

  huart5.Instance = UART5;
  huart5.Init.BaudRate = 115200;
  huart5.Init.WordLength = UART_WORDLENGTH_8B;
  huart5.Init.StopBits = UART_STOPBITS_1;
  huart5.Init.Parity = UART_PARITY_NONE;
  huart5.Init.Mode = UART_MODE_TX_RX;
  huart5.Init.HwFlowCtl = UART_HWCONTROL_NONE;
  huart5.Init.OverSampling = UART_OVERSAMPLING_16;
  if (HAL_UART_Init(&huart5) != HAL_OK)
  {
    Error_Handler();
  }

}

static void MX_USART3_UART_Init(void)
{

  huart3.Instance = USART3;
  huart3.Init.BaudRate = 9600;
  huart3.Init.WordLength = UART_WORDLENGTH_8B;
  huart3.Init.StopBits = UART_STOPBITS_1;
  huart3.Init.Parity = UART_PARITY_NONE;
  huart3.Init.Mode = UART_MODE_TX_RX;
  huart3.Init.HwFlowCtl = UART_HWCONTROL_NONE;
  huart3.Init.OverSampling = UART_OVERSAMPLING_16;
  if (HAL_UART_Init(&huart3) != HAL_OK)
  {
    Error_Handler();
  }
  /* USER CODE BEGIN USART3_Init 2 */

  __HAL_UART_ENABLE_IT(&huart3, UART_IT_RXNE);

  /* USER CODE END USART3_Init 2 */

}

static void MX_USART6_UART_Init(void)
{

  huart6.Instance = USART6;
  huart6.Init.BaudRate = 115200;
  huart6.Init.WordLength = UART_WORDLENGTH_8B;
  huart6.Init.StopBits = UART_STOPBITS_1;
  huart6.Init.Parity = UART_PARITY_NONE;
  huart6.Init.Mode = UART_MODE_TX_RX;
  huart6.Init.HwFlowCtl = UART_HWCONTROL_NONE;
  huart6.Init.OverSampling = UART_OVERSAMPLING_16;
  if (HAL_UART_Init(&huart6) != HAL_OK)
  {
    Error_Handler();
  }

}

static void MX_GPIO_Init(void)
{
  GPIO_InitTypeDef GPIO_InitStruct = {0};

  /* GPIO Ports Clock Enable */
  __HAL_RCC_GPIOE_CLK_ENABLE();
  __HAL_RCC_GPIOC_CLK_ENABLE();
  __HAL_RCC_GPIOH_CLK_ENABLE();
  __HAL_RCC_GPIOA_CLK_ENABLE();
  __HAL_RCC_GPIOB_CLK_ENABLE();
  __HAL_RCC_GPIOD_CLK_ENABLE();

  /*Configure GPIO pin Output Level */
  HAL_GPIO_WritePin(CS_I2C_SPI_GPIO_Port, CS_I2C_SPI_Pin, GPIO_PIN_RESET);

  /*Configure GPIO pin Output Level */
  HAL_GPIO_WritePin(OTG_FS_PowerSwitchOn_GPIO_Port, OTG_FS_PowerSwitchOn_Pin, GPIO_PIN_SET);

  /*Configure GPIO pin Output Level */
  HAL_GPIO_WritePin(GPIOD, LD4_Pin|LD3_Pin|LD5_Pin|LD6_Pin
                          |Audio_RST_Pin, GPIO_PIN_RESET);

  /*Configure GPIO pin : CS_I2C_SPI_Pin */
  GPIO_InitStruct.Pin = CS_I2C_SPI_Pin;
  GPIO_InitStruct.Mode = GPIO_MODE_OUTPUT_PP;
  GPIO_InitStruct.Pull = GPIO_NOPULL;
  GPIO_InitStruct.Speed = GPIO_SPEED_FREQ_LOW;
  HAL_GPIO_Init(CS_I2C_SPI_GPIO_Port, &GPIO_InitStruct);

  /*Configure GPIO pin : B_COORDINATOR_Pin */
  GPIO_InitStruct.Pin = B_COORDINATOR_Pin;
  GPIO_InitStruct.Mode = GPIO_MODE_INPUT;
  GPIO_InitStruct.Pull = GPIO_NOPULL;
  HAL_GPIO_Init(B_COORDINATOR_GPIO_Port, &GPIO_InitStruct);

  /*Configure GPIO pin : OTG_FS_PowerSwitchOn_Pin */
  GPIO_InitStruct.Pin = OTG_FS_PowerSwitchOn_Pin;
  GPIO_InitStruct.Mode = GPIO_MODE_OUTPUT_PP;
  GPIO_InitStruct.Pull = GPIO_NOPULL;
  GPIO_InitStruct.Speed = GPIO_SPEED_FREQ_LOW;
  HAL_GPIO_Init(OTG_FS_PowerSwitchOn_GPIO_Port, &GPIO_InitStruct);

  /*Configure GPIO pin : PDM_OUT_Pin */
  GPIO_InitStruct.Pin = PDM_OUT_Pin;
  GPIO_InitStruct.Mode = GPIO_MODE_AF_PP;
  GPIO_InitStruct.Pull = GPIO_NOPULL;
  GPIO_InitStruct.Speed = GPIO_SPEED_FREQ_LOW;
  GPIO_InitStruct.Alternate = GPIO_AF5_SPI2;
  HAL_GPIO_Init(PDM_OUT_GPIO_Port, &GPIO_InitStruct);

  /*Configure GPIO pin : B1_Pin */
  GPIO_InitStruct.Pin = B1_Pin;
  GPIO_InitStruct.Mode = GPIO_MODE_EVT_RISING;
  GPIO_InitStruct.Pull = GPIO_NOPULL;
  HAL_GPIO_Init(B1_GPIO_Port, &GPIO_InitStruct);

  /*Configure GPIO pins : SPI1_SCK_Pin SPI1_MISO_Pin */
  GPIO_InitStruct.Pin = SPI1_SCK_Pin|SPI1_MISO_Pin;
  GPIO_InitStruct.Mode = GPIO_MODE_AF_PP;
  GPIO_InitStruct.Pull = GPIO_NOPULL;
  GPIO_InitStruct.Speed = GPIO_SPEED_FREQ_LOW;
  GPIO_InitStruct.Alternate = GPIO_AF5_SPI1;
  HAL_GPIO_Init(GPIOA, &GPIO_InitStruct);

  /*Configure GPIO pin : BOOT1_Pin */
  GPIO_InitStruct.Pin = BOOT1_Pin;
  GPIO_InitStruct.Mode = GPIO_MODE_INPUT;
  GPIO_InitStruct.Pull = GPIO_NOPULL;
  HAL_GPIO_Init(BOOT1_GPIO_Port, &GPIO_InitStruct);

  /*Configure GPIO pin : CLK_IN_Pin */
  GPIO_InitStruct.Pin = CLK_IN_Pin;
  GPIO_InitStruct.Mode = GPIO_MODE_AF_PP;
  GPIO_InitStruct.Pull = GPIO_NOPULL;
  GPIO_InitStruct.Speed = GPIO_SPEED_FREQ_LOW;
  GPIO_InitStruct.Alternate = GPIO_AF5_SPI2;
  HAL_GPIO_Init(CLK_IN_GPIO_Port, &GPIO_InitStruct);

  /*Configure GPIO pins : LD4_Pin LD3_Pin LD5_Pin LD6_Pin
                           Audio_RST_Pin */
  GPIO_InitStruct.Pin = LD4_Pin|LD3_Pin|LD5_Pin|LD6_Pin
                          |Audio_RST_Pin;
  GPIO_InitStruct.Mode = GPIO_MODE_OUTPUT_PP;
  GPIO_InitStruct.Pull = GPIO_NOPULL;
  GPIO_InitStruct.Speed = GPIO_SPEED_FREQ_LOW;
  HAL_GPIO_Init(GPIOD, &GPIO_InitStruct);

  /*Configure GPIO pin : I2S3_SCK_Pin */
  GPIO_InitStruct.Pin = I2S3_SCK_Pin;
  GPIO_InitStruct.Mode = GPIO_MODE_AF_PP;
  GPIO_InitStruct.Pull = GPIO_NOPULL;
  GPIO_InitStruct.Speed = GPIO_SPEED_FREQ_LOW;
  GPIO_InitStruct.Alternate = GPIO_AF6_SPI3;
  HAL_GPIO_Init(I2S3_SCK_GPIO_Port, &GPIO_InitStruct);

  /*Configure GPIO pin : OTG_FS_OverCurrent_Pin */
  GPIO_InitStruct.Pin = OTG_FS_OverCurrent_Pin;
  GPIO_InitStruct.Mode = GPIO_MODE_INPUT;
  GPIO_InitStruct.Pull = GPIO_NOPULL;
  HAL_GPIO_Init(OTG_FS_OverCurrent_GPIO_Port, &GPIO_InitStruct);

  /*Configure GPIO pin : MEMS_INT2_Pin */
  GPIO_InitStruct.Pin = MEMS_INT2_Pin;
  GPIO_InitStruct.Mode = GPIO_MODE_EVT_RISING;
  GPIO_InitStruct.Pull = GPIO_NOPULL;
  HAL_GPIO_Init(MEMS_INT2_GPIO_Port, &GPIO_InitStruct);

}

void Error_Handler(void)
{
}

/************************ (C) COPYRIGHT STMicroelectronics *****END OF FILE****/
